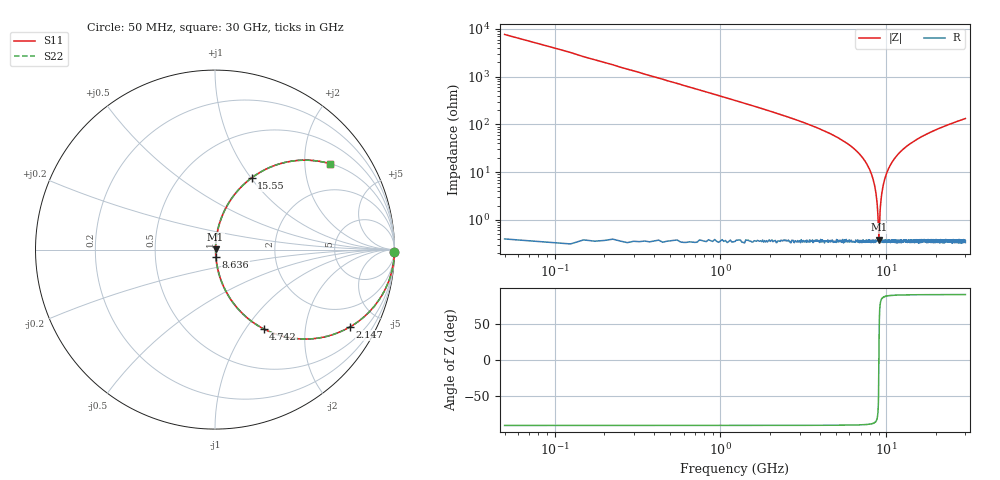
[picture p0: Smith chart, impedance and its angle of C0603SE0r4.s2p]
!	AVX Thin Film Operation 	Date: April 2014
!	Description: Accu-P® Series, Thin Film  SMD RF Capacitor
!	Part Number: 06031J0R4ZBSTR
# MHZ S MA R 50
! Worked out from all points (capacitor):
!   1201 points, 50 MHz to 30 GHz, reference 50 ohm
!   read as one part in series: C = 400 fF near 199.8 MHz
!   lowest |Z| = 386 mohm at 9.035 GHz (marker M1)
!   series resonance near 9.028 GHz, so ESL is about 780 pH
!   S11 on the Smith chart (normalised r, x): 50 MHz: open; 2.147 GHz: 1.01, -3.50; 4.742 GHz: 1.01, -1.22; 8.636 GHz: 1.01, -0.08; 15.55 GHz: 1.01, +1.01; 30 GHz: 1.01, +2.67
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50  1 -0.7  0.013 89.3  0.013 89.3  1 -0.7
324.542  0.997 -4.7  0.081 85.3  0.081 85.3  0.997 -4.7
649  0.987 -9.3  0.162 80.7  0.162 80.7  0.987 -9.3
1248  0.952 -17.7  0.304 72.2  0.304 72.2  0.952 -17.7
2146.5  0.867 -29.7  0.496 60.2  0.496 60.2  0.867 -29.7
4742.167  0.518 -58.5  0.852 31.2  0.852 31.2  0.518 -58.5
5041.667  0.476 -61.2  0.876 28.4  0.876 28.4  0.476 -61.2
7487.583  0.163 -79.4  0.983 9.4  0.983 9.4  0.163 -79.4
8186.417  0.086 -82.7  0.993 4.9  0.993 4.9  0.086 -82.7
8635.667  0.039 -82.5  0.996 2.2  0.996 2.2  0.039 -82.5
8935.167  0.009732 -68.0  0.996 0.5  0.996 0.5  0.009732 -68.0
9035  0.003637 11.1  0.996 -0.0  0.996 -0.0  0.003637 11.1
9134.833  0.011 70.4  0.996 -0.6  0.996 -0.6  0.011 70.4
9284.583  0.025 80.3  0.996 -1.4  0.996 -1.4  0.025 80.3
9459.292  0.041 82.7  0.996 -2.3  0.996 -2.3  0.041 82.7
10058.29  0.095 82.4  0.992 -5.4  0.992 -5.4  0.095 82.4
11855.29  0.236 75.5  0.968 -13.6  0.968 -13.6  0.236 75.5
15025  0.423 64.5  0.903 -25.0  0.903 -25.0  0.423 64.5
15549.12  0.448 63.0  0.891 -26.6  0.891 -26.6  0.448 63.0
20016.67  0.613 51.9  0.787 -37.8  0.787 -37.8  0.613 51.9
25033.29  0.727 43.2  0.684 -46.7  0.684 -46.7  0.727 43.2
30000  0.799 36.8  0.6 -53.0  0.6 -53.0  0.799 36.8
